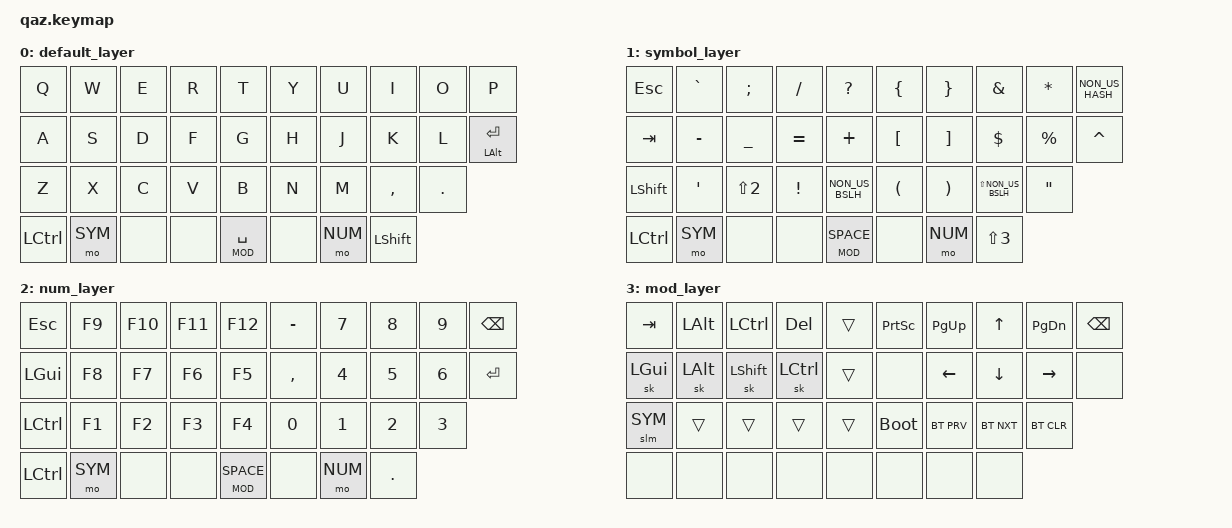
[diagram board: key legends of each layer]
/*
 * Copyright (c) 2020 The ZMK Contributors
 *
 * SPDX-License-Identifier: MIT
 */

#include <behaviors.dtsi>
#include <dt-bindings/zmk/keys.h>
#include <dt-bindings/zmk/bt.h>

#define DEF 0
#define SYM 1
#define NUM 2
#define MOD 3

/ {
        behaviors {        
                ly: layers {
                        compatible = "zmk,behavior-hold-tap";
                        label = "LAYERS TAP HOLD";
                        #binding-cells = <2>;
                        tapping-term-ms = <150>;
                        quick-tap-ms = <0>;
                        flavor = "tap-preferred";
                        bindings = <&mo>, <&to>;
                };

                slm: behavior_sticky_layer {
			compatible = "zmk,behavior-sticky-key";
			label = "STICKY_LAYER";
			#binding-cells = <1>;
			release-after-ms = <1000>;
			bindings = <&mo>;
			ignore-modifiers;
		};
        };

        keymap {
                compatible = "zmk,keymap";

                default_layer {
// -----------------------------------------------------------------------------------------
// |  Q  |  W  |  E  |  R  |  T  |   |  Y  |  U   |  I  |  O  |  P  |
// |  A  |  S  |  D  |  F  |  G  |   |  H  |  J   |  K  |  L  |  ENTER |
// |  Z  |  X  |  C  |  V  |  B  |   |  N  |  M   |  ,  |  .  |
// |  LCTRL  |  SYM  |    |    |  SPC  |   |  NUM  |  LSHIFT  |
            bindings = <
    &kp Q      &kp W      &kp E       &kp R       &kp T         &kp Y      &kp U       &kp I       &kp O       &kp P
    &kp A      &kp S      &kp D       &kp F       &kp G         &kp H      &kp J       &kp K       &kp L       &mt LALT ENTER
    &kp Z      &kp X      &kp C       &kp V       &kp B         &kp N      &kp M       &kp COMMA   &kp DOT 
    &kp LCTRL  &mo SYM    &none       &none       &lt MOD SPACE &none      &mo NUM     &kp LSHIFT
            >;
        };

                symbol_layer {
// -----------------------------------------------------------------------------------------
// | ESC |  `  |  ;  |  /  |  ?  |   |  {  |  }  |  &  |  *  |  #  |
// | TAB |  -  |  _  |  =  |  +  |   |  [  |  ]  |  $  |  %  |  ^  |
// | SHFT|  '  |  "  |  !  |  \  |   |  (  |  )  |  |  |  @  |
// |  LCTRL  |  SYM  |    |    |  SPC  |   |  NUM  |  £  |
                        bindings = <
    &kp ESC      &kp GRAVE  &kp SEMI   &kp FSLH   &kp QMARK        &kp LBRC   &kp RBRC   &kp AMPS              &kp STAR    &kp NON_US_HASH
    &kp TAB      &kp MINUS  &kp UNDER  &kp EQUAL  &kp PLUS         &kp LBKT   &kp RBKT   &kp DOLLAR            &kp PERCENT &kp CARET
    &kp LSHIFT   &kp APOS   &kp LS(N2) &kp EXCL   &kp NON_US_BSLH  &kp LPAR   &kp RPAR   &kp LS(NON_US_BSLH)   &kp DQT
    &kp LCTRL  &mo SYM    &none       &none       &ly MOD SPACE &none      &mo NUM     &kp LS(N3)
                        >;
                };

                num_layer {
// -----------------------------------------------------------------------------------------
// | ESC  |  F9  |  F10  |  F11  |  F12  |   |  MINUS  |  KP_N7  |  KP_N8  |  KP_N9  |  BSPC  |
// | LGUI |  F8  |  F7   |  F6   |  F5   |   |  COMMA  |  KP_N4  |  KP_N5  |  KP_N6  |  ENTER |
// | LCTRL|  F1  |  F2   |  F3   |  F4   |   |  KP_N0  |  KP_N1  |  KP_N2  |  KP_N3  |
// |  LCTRL  |  SYM  |    |    |  SPC  |   |  NUM  |  DOT   |
                        bindings = <
    &kp ESC    &kp F9   &kp F10   &kp F11   &kp F12     &kp MINUS   &kp N7  &kp N8  &kp N9  &kp BSPC 
    &kp LGUI   &kp F8   &kp F7    &kp F6    &kp F5      &kp COMMA   &kp N4  &kp N5  &kp N6  &kp ENTER
    &kp LCTRL  &kp F1   &kp F2    &kp F3    &kp F4      &kp N0      &kp N1  &kp N2  &kp N3   
    &kp LCTRL  &mo SYM    &none       &none       &ly MOD SPACE &none      &mo NUM     &kp DOT 
                        >;
                };

                mod_layer {
// -----------------------------------------------------------------------------------------
// | TAB     |  ALT     |  CTRL     |  DEL       |    |  PSCRN  |  PG_UP  |  UP    |  PG_DN  |  BSPC  |
// | SK LGUI |  SK ALT  |  SK SHFT  |  SK LCTRL  |    |         |  LEFT   |  DOWN  |  RIGHT  |        |
// |         |          |           |            |    |  RESET  |  BT PRV | BT NXT |  BT CLR |
                        bindings = <
    &kp TAB   &kp LALT   &kp LCTRL   &kp DEL     &trans     &kp PSCRN   &kp PG_UP   &kp UP      &kp PG_DN  &kp BSPC
    &sk LGUI  &sk LALT   &sk LSHFT   &sk LCTRL   &trans     &none       &kp LEFT    &kp DOWN    &kp RIGHT  &none  
    &slm SYM  &trans     &trans      &trans      &trans     &bootloader &bt BT_PRV  &bt BT_NXT  &bt BT_CLR
    &none     &none      &none       &none       &none      &none       &none       &none 
                        >;
                };
        };
};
